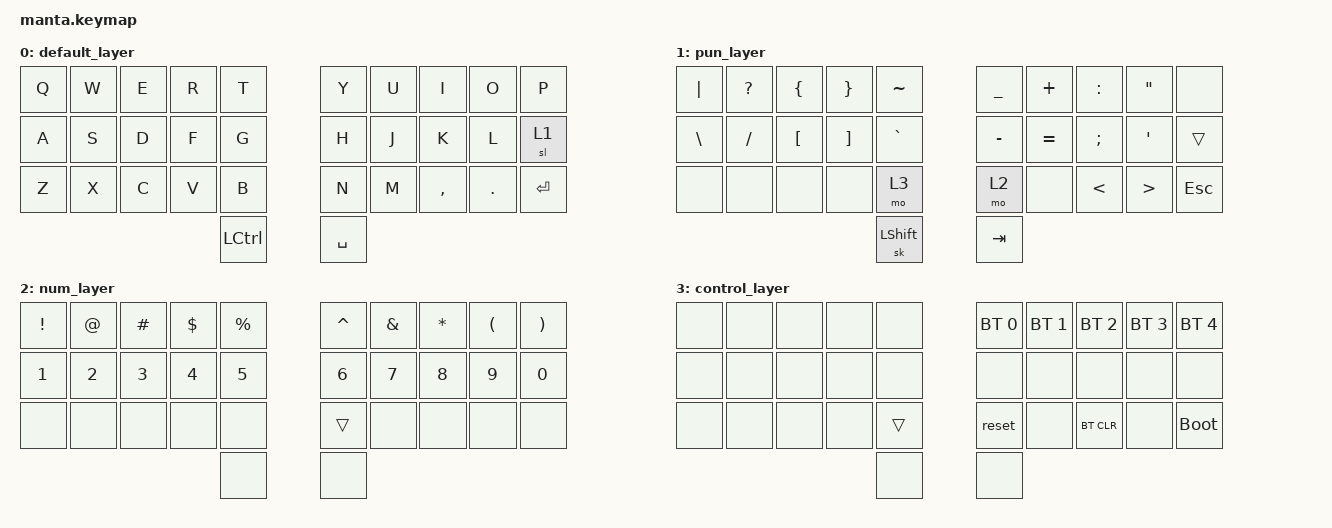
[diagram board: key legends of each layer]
#include <behaviors.dtsi>
#include <dt-bindings/zmk/keys.h>
#include <dt-bindings/zmk/outputs.h>
#include <dt-bindings/zmk/bt.h>

// My weird keymap

&caps_word {
    continue-list = <UNDERSCORE MINUS>;
};

/ {
    behaviors {
        // See https://zmk.dev/docs/behaviors/hold-tap
        hm: homerow_mods {
            compatible = "zmk,behavior-hold-tap";
            label = "HOMEROW_MODS";
            #binding-cells = <2>;
            tapping-term-ms = <150>;
            quick-tap-ms = <0>;
            flavor = "tap-preferred";
            bindings = <&kp>, <&kp>;
        };
    };

    keymap {
        compatible = "zmk,keymap";

        default_layer {
            bindings = <
                &kp Q &kp W &kp E &kp R &kp T     &kp Y &kp U &kp I &kp O &kp P
                &kp A &kp S &kp D &kp F &kp G     &kp H &kp J &kp K &kp L &sl 1 
                &kp Z &kp X &kp C &kp V &kp B     &kp N &kp M &kp COMMA &kp DOT &kp RET
                                    &kp LCTRL &kp SPACE
            >;
        };

        pun_layer {
            bindings = <
                &kp PIPE &kp QMARK &kp LBRC &kp RBRC &kp TILDE                &kp UNDER &kp PLUS &kp COLON &kp DQT &none
                &kp BSLH &kp SLASH &kp LBKT &kp RBKT &kp GRAVE                  &kp MINUS &kp EQUAL &kp SEMI &kp APOS &trans
                &none  &none  &none  &none &mo 3        &mo 2  &none  &kp LT &kp GT   &kp ESC
                                                      &sk LSHIFT   &kp TAB
            >;
        };

        num_layer {
            bindings = <
                &kp EXCL &kp AT &kp HASH &kp DOLLAR &kp PERCENT                &kp CARET &kp AMPS &kp STAR &kp LPAR &kp RPAR
                &kp N1 &kp N2 &kp N3 &kp N4 &kp N5    &kp N6 &kp N7 &kp N8 &kp N9 &kp N0
                &none &none &none &none &none                &trans &none &none &none &none
                                        &none &none
            >;
        };
        
        control_layer {
            bindings = <
                &none &none &none &none &none           &bt BT_SEL 0 &bt BT_SEL 1 &bt BT_SEL 2 &bt BT_SEL 3 &bt BT_SEL 4
                &none &none &none &none &none                              &none &none &none &none &none
                &none &none &none &none &trans                             &reset &none &bt BT_CLR &none &bootloader
                                                         &none &none
            >;
        };
    };
};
